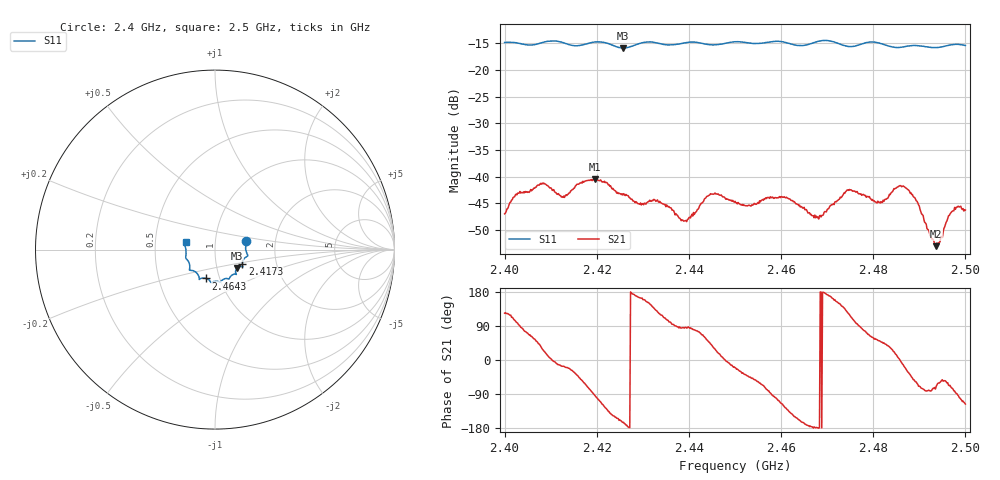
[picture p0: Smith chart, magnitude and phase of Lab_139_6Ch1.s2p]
# Hz S RI R 50
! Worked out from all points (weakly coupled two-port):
!   601 points, 2.4 GHz to 2.5 GHz, reference 50 ohm
!   highest |S21| = -40.52 dB at 2.4197 GHz (marker M1); lowest = -53.0 dB at 2.4937 GHz (marker M2)
!   lowest |S11| = -15.9 dB at 2.4257 GHz (marker M3), VSWR 1.38, Z = 62.4 - j13.1 ohm
!   |S11| at or under -10 dB: start of sweep to end of sweep
!   S12 and S22 are empty: the file has one direction only
!   S11 on the Smith chart (normalised r, x): 2.4 GHz: 1.41, +0.14; 2.4173 GHz: 1.34, -0.23; 2.4643 GHz: 0.86, -0.28; 2.5 GHz: 0.72, +0.06
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2.4e9  0.1733 0.0494  -0.00248 0.00374  0 0  0 0
2.402833e9  0.1744 0.0357  -0.000881 0.00695  0 0  0 0
2.407667e9  0.1763 -0.0177  0.00657 0.00543  0 0  0 0
2.412667e9  0.1756 -0.0392  0.00613 -0.00183  0 0  0 0
2.416667e9  0.153 -0.0742  0.00542 -0.00699  0 0  0 0
2.417333e9  0.1524 -0.0817  0.00439 -0.00786  0 0  0 0
2.419667e9  0.1546 -0.0971  -0.000792 -0.00939  0 0  0 0
2.425667e9  0.1227 -0.1026  -0.00649 -0.00175  0 0  0 0
2.433333e9  0.1127 -0.1367  -0.00337 0.00475  0 0  0 0
2.439e9  0.0808 -0.1594  0.00039 0.00383  0 0  0 0
2.444667e9  0.0584 -0.1613  0.0051 0.00468  0 0  0 0
2.45e9  0.029 -0.1809  0.00552 -0.00202  0 0  0 0
2.460167e9  -0.0236 -0.182  -0.0028 -0.00588  0 0  0 0
2.464333e9  -0.0498 -0.1607  -0.00501 -0.00157  0 0  0 0
2.466667e9  -0.0759 -0.1597  -0.00431 -0.000285  0 0  0 0
2.474667e9  -0.103 -0.1292  -0.00392 0.00631  0 0  0 0
2.481e9  -0.1422 -0.1095  0.00364 0.00464  0 0  0 0
2.483333e9  -0.1406 -0.0902  0.00522 0.00389  0 0  0 0
2.487333e9  -0.1572 -0.0548  0.00679 -0.0036  0 0  0 0
2.493667e9  -0.1613 -0.00575  0.000787 -0.00209  0 0  0 0
2.497167e9  -0.1701 0.0272  0.00125 -0.00458  0 0  0 0
2.5e9  -0.1635 0.0421  -0.00215 -0.00436  0 0  0 0
